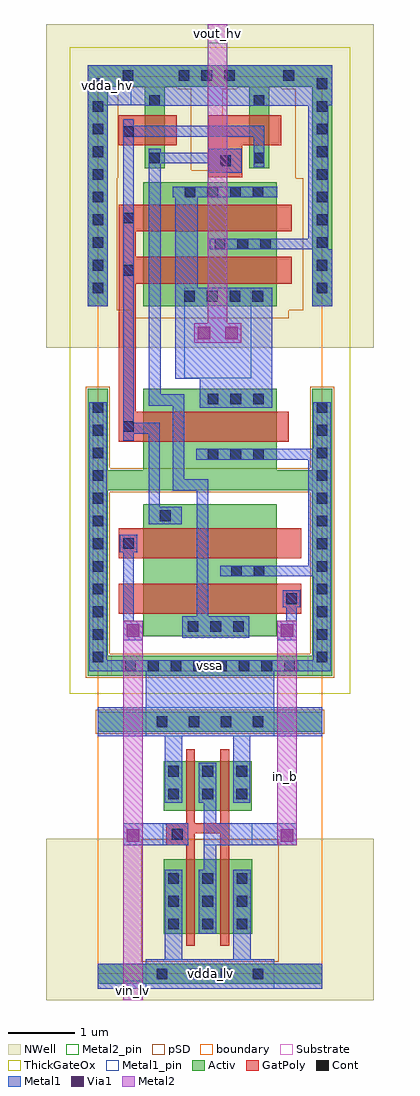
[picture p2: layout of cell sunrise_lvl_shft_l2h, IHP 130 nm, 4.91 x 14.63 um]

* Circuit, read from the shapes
.subckt sunrise_lvl_shft_l2h in_b vdda_hv vdda_lv vin_lv vout_hv vssa
XM1 vssa in_b shifter_0/lvlsh vssa sg13_hv_nmos w=2u l=0.45u
XM2 shifter_0/lvlsh_b vin_lv vssa vssa sg13_hv_nmos w=2u l=0.45u
XM3 vout_hv shifter_0/lvlsh_b vssa vssa sg13_hv_nmos w=2u l=0.45u
XM4 in_b vin_lv vssa vssa sg13_lv_nmos w=0.74u l=0.13u m=2
XM5 vdda_hv shifter_0/lvlsh_b vout_hv vdda_hv sg13_hv_pmos w=2u l=0.4u m=2
XM6 vdda_hv shifter_0/lvlsh_b shifter_0/lvlsh vdda_hv sg13_hv_pmos w=0.3u l=0.45u
XM7 in_b vin_lv vdda_lv vdda_lv sg13_lv_pmos w=1.12u l=0.13u m=2
XM8 vdda_hv shifter_0/lvlsh shifter_0/lvlsh_b vdda_hv sg13_hv_pmos w=0.3u l=0.45u
.ends

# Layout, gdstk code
from math import pi, radians
import gdstk
lib = gdstk.Library(unit=1e-6, precision=1e-09)
def R(c, l, rs):  # rectangles x0, y0, x1, y1
    for r in rs: c.add(gdstk.rectangle(r[:2], r[2:], *l))
def A(c, l, x, y, w, h, nx, ny, dx, dy):  # array of equal rectangles
    R(c, l, [(x+i*dx, y+j*dy, x+i*dx+w, y+j*dy+h) for i in range(nx) for j in range(ny)])
def P(c, l, *ps):  # polygons
    for p in ps: c.add(gdstk.Polygon(p, *l))
Activ = (1, 0)
GatPoly = (5, 0)
Cont = (6, 0)
Metal1 = (8, 0)
Metal1_pin = (8, 2)
Metal2 = (10, 0)
Metal2_pin = (10, 2)
pSD = (14, 0)
Via1 = (19, 0)
NWell = (31, 0)
Substrate = (40, 0)
ThickGateOx = (44, 0)
boundary = (189, 4)

ptap1_3 = lib.new_cell('ptap1$3')
R(ptap1_3, Activ, [(0,0,4.3,0.3)])
A(ptap1_3, Cont, 0.2, 0.07, 0.16, 0.16, 12, 1, 0.34, 0)
R(ptap1_3, Metal1, [(0.2,0.02,4.1,0.28), (0.2,0.07,4.1,0.23)])
R(ptap1_3, Metal1_pin, [(0.2,0.07,4.1,0.23)])
R(ptap1_3, pSD, [(-0.03,-0.03,4.33,0.33)])
R(ptap1_3, Substrate, [(0,0,4.3,0.3)])
ptap1_3.add(gdstk.Label('sub!', (2.15,0.01), layer=63, texttype=0))
ptap1_3.add(gdstk.Label('sub!', (2.15,0.01), layer=40, texttype=0))

via_stack_8 = lib.new_cell('via_stack$8')
R(via_stack_8, Metal1, [(-0.145,-0.145,0.145,0.145)])
R(via_stack_8, Metal2, [(-0.145,-0.145,0.145,0.145)])
R(via_stack_8, Via1, [(-0.095,-0.095,0.095,0.095)])

ptap1_2 = lib.new_cell('ptap1$2')
R(ptap1_2, Activ, [(0,0,0.3,2.955)])
A(ptap1_2, Cont, 0.07, 0.205, 0.16, 0.16, 1, 8, 0, 0.34)
R(ptap1_2, Metal1, [(0.07,0.155,0.23,2.795), (0.07,0.205,0.23,2.745)])
R(ptap1_2, Metal1_pin, [(0.07,0.205,0.23,2.745)])
R(ptap1_2, pSD, [(-0.03,-0.03,0.33,2.985)])
R(ptap1_2, Substrate, [(0,0,0.3,2.955)])
ptap1_2.add(gdstk.Label('sub!', (0.15,0.01), layer=63, texttype=0))
ptap1_2.add(gdstk.Label('sub!', (0.15,0.01), layer=40, texttype=0))

shifter = lib.new_cell('shifter')
R(shifter, Activ, [(0.875,1.76,0.925,2.06), (3.88,1.76,3.935,2.06), (1.405,2.35,3.405,4.33), (0.625,4.54,4.18,4.84), (1.405,4.84,3.405,6.06), (0.575,7.3,0.875,10.59), (1.405,7.3,3.405,9.16), (3.935,7.3,4.235,10.59), (1.425,9.37,1.725,10.59), (2.99,9.37,3.29,10.59), (0.575,10.59,4.235,10.91)])
R(shifter, GatPoly, [(1.035,2.69,3.585,3.14), (3.585,2.69,3.775,3.14), (1.035,3.52,3.585,3.97), (3.585,3.52,3.775,3.97), (1.035,5.27,3.585,5.72), (1.035,5.72,1.295,7.64), (1.035,7.64,3.63,8.04), (1.035,8.04,1.295,8.42), (1.035,8.42,3.63,8.82), (2.38,9.23,2.89,9.71), (1.035,9.71,1.905,10.16), (2.38,9.71,3.47,10.16)])
A(shifter, Cont, 2.07, 2.42, 0.16, 0.16, 3, 1, 0.34, 0)
A(shifter, Cont, 2.37, 5, 0.16, 0.16, 3, 2, 0.34, 0.83)
A(shifter, Cont, 2.02, 7.37, 0.16, 0.16, 4, 1, 0.34, 0)
A(shifter, Cont, 0.645, 7.495, 0.16, 0.16, 1, 10, 0, 0.34)
A(shifter, Cont, 4.005, 7.495, 0.16, 0.16, 1, 10, 0, 0.34)
A(shifter, Cont, 2.475, 8.15, 0.16, 0.16, 3, 1, 0.34, 0)
A(shifter, Cont, 2.025, 8.93, 0.16, 0.16, 4, 1, 0.34, 0)
A(shifter, Cont, 1.935, 10.68, 0.16, 0.16, 3, 1, 0.34, 0)
R(shifter, Cont, [(3.545,2.835,3.705,2.995), (2.72,3.25,2.88,3.41), (3.06,3.25,3.22,3.41), (1.105,3.665,1.265,3.825), (1.655,4.08,1.815,4.24), (1.105,5.415,1.265,5.575), (1.105,7.76,1.265,7.92), (1.105,8.54,1.265,8.7), (2.555,9.4,2.715,9.56), (1.495,9.44,1.655,9.6), (3.06,9.44,3.22,9.6), (1.105,9.84,1.265,10), (1.495,10.305,1.655,10.465), (3.06,10.305,3.22,10.465), (1.095,10.68,1.255,10.84), (3.505,10.68,3.665,10.84)])
R(shifter, Metal1, [(0.595,1.83,1.085,1.99), (3.725,1.83,4.215,1.99), (1.99,2.33,2.99,2.655), (2.205,2.655,2.38,4.53), (3.495,2.785,3.755,3.045), (2.56,3.25,4.18,3.41), (3.88,3.41,4.18,5), (1.055,3.615,1.315,3.875), (1.49,4.03,1.98,4.295), (1.49,4.295,1.655,5.39), (1.845,4.53,2.38,4.705), (1.845,4.705,2.02,5.805), (2.2,5,4.18,5.16), (1.105,5.285,1.265,5.39), (1.105,5.39,1.655,5.55), (1.105,5.55,1.265,9.84), (2.25,5.78,3.335,6.215), (1.49,5.805,2.02,5.98), (1.49,5.98,1.665,9.44), (1.885,6.215,3.335,7.58), (0.575,7.3,0.875,10.31), (3.935,7.3,4.235,8.155), (1.885,7.58,2.22,8.93), (2.4,8.15,4.18,8.31), (3.88,8.31,4.18,10.305), (1.845,8.93,3.41,9.09), (2.385,9.3,2.88,9.44), (3.06,9.385,3.22,9.84), (1.49,9.44,2.88,9.6), (1.49,9.6,1.665,9.66), (2.385,9.6,2.88,9.66), (1.105,9.84,3.22,10.005), (1.105,10.005,1.265,10.1), (1.445,10.305,4.18,10.31), (0.575,10.31,4.235,10.91)])
R(shifter, Metal1_pin, [(2.257,1.83,2.547,1.99), (2.02,6.22,3.02,7.58), (0.575,10.31,1.225,10.91)])
R(shifter, pSD, [(0.595,4.51,4.21,4.84), (0.595,4.84,1.405,4.87), (1.405,4.84,3.405,4.87), (3.405,4.84,4.21,4.87), (1.225,7.12,3.585,7.24), (1.005,7.24,3.805,9.22), (1.025,9.22,3.69,9.34), (1.025,9.34,2.125,10.56), (2.59,9.34,3.69,10.56), (1.245,10.56,1.905,10.59), (2.81,10.56,3.47,10.59)])
R(shifter, NWell, [(-0.05,6.68,4.86,11.53)])
R(shifter, ThickGateOx, [(0.305,1.49,4.505,2.56), (0.305,2.56,4.505,9.335), (0.305,9.335,4.505,9.43), (0.305,9.43,4.505,10.32), (0.305,10.32,4.505,10.415), (0.305,10.415,4.505,11.18)])
shifter.add(gdstk.FlexPath([(1.185,3.825),(1.185,2.455)], 0.16, ends="flush", simple_path=True, layer=8, datatype=0))  # Metal1
shifter.add(gdstk.FlexPath([(3.625,2.995),(3.625,2.455)], 0.16, ends="flush", simple_path=True, layer=8, datatype=0))  # Metal1
shifter.add(gdstk.FlexPath([(3.56,2.44),(3.56,1.49)], 0.29, ends="flush", simple_path=True, layer=10, datatype=0))  # Metal2
shifter.add(gdstk.FlexPath([(1.25,2.44),(1.25,1.49)], 0.29, ends="flush", simple_path=True, layer=10, datatype=0))  # Metal2
shifter.add(gdstk.Reference(ptap1_3, (4.235,1.76), rotation=pi/2))
shifter.add(gdstk.Reference(ptap1_3, (0.875,1.76), rotation=pi/2))
shifter.add(gdstk.Reference(via_stack_8, (1.25,2.44), rotation=pi/2))
shifter.add(gdstk.Reference(via_stack_8, (3.56,2.44), rotation=pi/2))
shifter.add(gdstk.Reference(ptap1_2, (3.88,1.76), rotation=pi/2))
shifter.add(gdstk.Label('vdda_hv', (0.925,10.61), layer=8, texttype=25))
shifter.add(gdstk.Label('vssa', (2.402,1.91), layer=8, texttype=25))
shifter.add(gdstk.Label('lvlsh', (2.405,2.47), layer=8, texttype=25))
shifter.add(gdstk.Label('lvlsh_b', (1.725,4.135), layer=8, texttype=25))

via_stack_2_5 = lib.new_cell('via_stack$2$5')
R(via_stack_2_5, Metal1, [(-0.145,-0.145,0.145,0.145)])
R(via_stack_2_5, Metal2, [(-0.145,-0.145,0.145,0.145)])
R(via_stack_2_5, Via1, [(-0.095,-0.095,0.095,0.095)])

sg13cmos5l_inv_2_1_5 = lib.new_cell('sg13cmos5l_inv_2$1$5')
R(sg13cmos5l_inv_2_1_5, Activ, [(0,-0.15,1.92,0.15), (0.265,0.59,1.585,1.33), (0.265,2.06,1.59,3.18), (0,3.63,1.92,3.93)])
P(sg13cmos5l_inv_2_1_5, GatPoly, [(0.605,0.41),(0.605,1.52),(0.305,1.52),(0.305,1.85),(0.605,1.85),(0.605,3.36),(0.735,3.36),(0.735,1.67),(1.115,1.67),(1.115,3.36),(1.245,3.36),(1.245,0.41),(1.115,0.41),(1.115,1.52),(0.735,1.52),(0.735,0.41)])
A(sg13cmos5l_inv_2_1_5, Cont, 0.335, 0.66, 0.16, 0.16, 3, 2, 0.51, 0.34)
A(sg13cmos5l_inv_2_1_5, Cont, 0.335, 2.27, 0.16, 0.16, 1, 3, 0, 0.34)
A(sg13cmos5l_inv_2_1_5, Cont, 0.845, 2.27, 0.16, 0.16, 1, 3, 0, 0.34)
A(sg13cmos5l_inv_2_1_5, Cont, 1.36, 2.27, 0.16, 0.16, 1, 3, 0, 0.34)
R(sg13cmos5l_inv_2_1_5, Cont, [(0.16,-0.08,0.32,0.08), (0.16,-0.08,0.32,0.08), (0.64,-0.08,0.8,0.08), (0.64,-0.08,0.8,0.08), (1.12,-0.08,1.28,0.08), (1.12,-0.08,1.28,0.08), (1.6,-0.08,1.76,0.08), (1.6,-0.08,1.76,0.08), (0.39,1.605,0.55,1.765), (0.16,3.7,0.32,3.86), (0.16,3.7,0.32,3.86), (0.64,3.7,0.8,3.86), (0.64,3.7,0.8,3.86), (1.12,3.7,1.28,3.86), (1.12,3.7,1.28,3.86), (1.6,3.7,1.76,3.86), (1.6,3.7,1.76,3.86)])
R(sg13cmos5l_inv_2_1_5, Metal1, [(0.255,1.52,0.635,1.85)])
P(sg13cmos5l_inv_2_1_5, Metal1, [(0.285,2.22),(0.285,3.56),(0,3.56),(0,4),(1.92,4),(1.92,3.56),(1.57,3.56),(1.57,2.22),(1.31,2.22),(1.31,3.56),(0.545,3.56),(0.545,2.22)],
  [(0,-0.22),(0,0.22),(0.285,0.22),(0.285,1.21),(0.545,1.21),(0.545,0.22),(1.305,0.22),(1.305,1.21),(1.565,1.21),(1.565,0.22),(1.92,0.22),(1.92,-0.22)],
  [(0.795,0.61),(0.795,1.21),(0.87,1.21),(0.87,2.22),(0.795,2.22),(0.795,3.18),(1.055,3.18),(1.055,1.85),(1.59,1.85),(1.59,1.52),(1.055,1.52),(1.055,0.61)])
R(sg13cmos5l_inv_2_1_5, Metal1_pin, [(0,-0.22,1.92,0.22), (0.255,1.52,0.635,1.85), (0.87,1.52,1.59,1.85), (0,3.56,1.92,4)])
R(sg13cmos5l_inv_2_1_5, pSD, [(-0.07,-0.18,1.99,0.18), (-0.07,1.76,1.99,3.6)])
R(sg13cmos5l_inv_2_1_5, NWell, [(-0.24,1.75,2.16,4.17)])
R(sg13cmos5l_inv_2_1_5, boundary, [(0,0,1.92,3.78)])
sg13cmos5l_inv_2_1_5.add(gdstk.Label('VSS', (0.89,0), layer=8, texttype=25))
sg13cmos5l_inv_2_1_5.add(gdstk.Label('VDD', (0.935,3.785), layer=8, texttype=25))
sg13cmos5l_inv_2_1_5.add(gdstk.Label('Y', (1.44,1.68), layer=8, texttype=25))
sg13cmos5l_inv_2_1_5.add(gdstk.Label('A', (0.48,1.68), layer=8, texttype=25))

via_stack_3_5 = lib.new_cell('via_stack$3$5')
R(via_stack_3_5, Metal1, [(-0.145,-0.35,0.145,0.35)])
R(via_stack_3_5, Metal2, [(-0.145,-0.35,0.145,0.35)])
R(via_stack_3_5, Via1, [(-0.095,-0.3,0.095,-0.11), (-0.095,0.11,0.095,0.3)])

sunrise_lvl_shft_l2h = lib.new_cell('sunrise_lvl_shft_l2h')
R(sunrise_lvl_shft_l2h, Activ, [(5.14,1.29,5.29,1.59), (5.29,1.29,5.86,1.59), (7.78,1.29,8.35,1.59), (8.35,1.29,8.5,1.59), (5.14,5.07,5.29,5.37), (5.29,5.07,5.86,5.37), (7.78,5.07,8.35,5.37), (8.35,5.07,8.5,5.37)])
R(sunrise_lvl_shft_l2h, Metal1, [(5.14,1.22,5.29,1.59), (5.29,1.22,5.86,1.59), (7.78,1.22,8.35,1.59), (8.35,1.22,8.5,1.59), (5.52,3.37,6.115,3.7), (7.45,3.37,8.12,3.7), (5.14,5,5.29,5.44), (5.29,5,5.86,5.44), (7.78,5,8.35,5.44), (8.35,5,8.5,5.44), (5.86,5.44,7.78,5.98)])
R(sunrise_lvl_shft_l2h, Metal1_pin, [(6.6,1.22,7.04,1.66), (5.5,5.98,8.14,6.14), (6.672,5.98,6.962,6.14), (4.99,14.46,5.59,15.06)])
R(sunrise_lvl_shft_l2h, Metal2_pin, [(5.52,1.05,5.81,1.34), (6.79,15.39,7.08,15.68)])
R(sunrise_lvl_shft_l2h, pSD, [(5.11,5.04,5.26,5.4), (5.26,5.04,5.79,5.4), (7.85,5.04,8.38,5.4), (8.38,5.04,8.53,5.4)])
R(sunrise_lvl_shft_l2h, NWell, [(4.365,1.05,9.275,3.47)])
R(sunrise_lvl_shft_l2h, boundary, [(5.14,1.44,8.5,14.9)])
sunrise_lvl_shft_l2h.add(gdstk.FlexPath([(5.665,3.37),(5.665,1.05)], 0.29, ends="flush", simple_path=True, layer=10, datatype=0))  # Metal2
sunrise_lvl_shft_l2h.add(gdstk.FlexPath([(6.935,11.05),(6.935,15.68)], 0.29, ends="flush", simple_path=True, layer=10, datatype=0))  # Metal2
sunrise_lvl_shft_l2h.add(gdstk.FlexPath([(5.665,5.64),(5.665,3.37)], 0.29, ends="flush", simple_path=True, layer=10, datatype=0))  # Metal2
sunrise_lvl_shft_l2h.add(gdstk.FlexPath([(7.975,5.64),(7.975,3.37)], 0.29, ends="flush", simple_path=True, layer=10, datatype=0))  # Metal2
sunrise_lvl_shft_l2h.add(gdstk.Reference(shifter, (4.415,4.15)))
sunrise_lvl_shft_l2h.add(gdstk.Reference(via_stack_2_5, (7.975,3.515), rotation=pi/2))
sunrise_lvl_shft_l2h.add(gdstk.Reference(via_stack_2_5, (5.665,3.515), rotation=pi/2))
sunrise_lvl_shft_l2h.add(gdstk.Reference(sg13cmos5l_inv_2_1_5, (5.86,5.22), x_reflection=True))
sunrise_lvl_shft_l2h.add(gdstk.Reference(via_stack_3_5, (6.935,11.05), rotation=pi/2))
sunrise_lvl_shft_l2h.add(gdstk.Label('vdda_lv', (6.82,1.44), layer=8, texttype=25))
sunrise_lvl_shft_l2h.add(gdstk.Label('vdda_hv', (5.29,14.76), layer=8, texttype=25))
sunrise_lvl_shft_l2h.add(gdstk.Label('vssa', (6.817,6.06), layer=8, texttype=25))
sunrise_lvl_shft_l2h.add(gdstk.Label('vin_lv', (5.665,1.195), layer=10, texttype=25))
sunrise_lvl_shft_l2h.add(gdstk.Label('in_b', (7.95,4.395), layer=10, texttype=25))
sunrise_lvl_shft_l2h.add(gdstk.Label('vout_hv', (6.935,15.535), layer=10, texttype=25))

lib.write_gds('sunrise_lvl_shft_l2h.gds')
